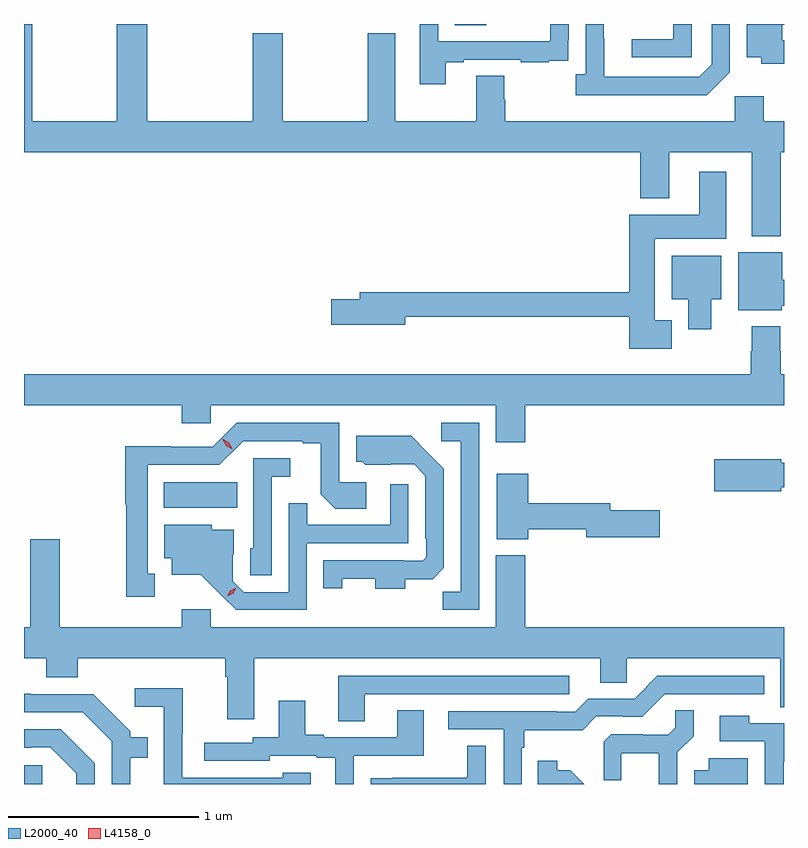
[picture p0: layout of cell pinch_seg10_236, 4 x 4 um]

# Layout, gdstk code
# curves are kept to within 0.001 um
import gdstk
lib = gdstk.Library(unit=1e-6, precision=1e-09)
def R(c, l, rs):  # rectangles x0, y0, x1, y1
    for r in rs: c.add(gdstk.rectangle(r[:2], r[2:], *l))
def P(c, l, *ps):  # polygons
    for p in ps: c.add(gdstk.Polygon(p, *l))
L2000_40 = (2000, 40)
L4158_0 = (4158, 0)

pinch_seg10_236 = lib.new_cell('pinch_seg10_236')
R(pinch_seg10_236, L2000_40, [(609.938,1299.655,610.033,1299.753), (610.673,1301.108,611.06,1301.242), (612.206,1303.648,612.37,1303.655)])
P(pinch_seg10_236, L2000_40, [(613.922,1302.98),(613.938,1302.98),(613.938,1303.144),(613.832,1303.144),(613.832,1303.276),(613.68,1303.276),(613.68,1303.144),(612.47,1303.144),(612.47,1303.257),(612.465,1303.257),(612.465,1303.382),(612.317,1303.382),(612.317,1303.144),(611.893,1303.144),(611.893,1303.606),(611.746,1303.606),(611.746,1303.144),(611.301,1303.144),(611.301,1303.606),(611.141,1303.606),(611.141,1303.144),(610.586,1303.144),(610.586,1303.655),(610.426,1303.655),(610.426,1303.144),(609.981,1303.144),(609.981,1303.655),(609.938,1303.655),(609.938,1302.98),(613.181,1302.98),(613.181,1302.737),(613.333,1302.737),(613.333,1302.98),(613.769,1302.98),(613.769,1302.539),(613.922,1302.539)],
  [(613.653,1303.401),(613.653,1303.655),(613.557,1303.655),(613.557,1303.443),(613.491,1303.377),(612.991,1303.377),(612.99,1303.655),(612.894,1303.655),(612.894,1303.39),(612.843,1303.39),(612.843,1303.28),(613.532,1303.28)],
  [(612.157,1303.455),(612.253,1303.455),(612.253,1303.467),(612.553,1303.467),(612.553,1303.455),(612.701,1303.455),(612.701,1303.461),(612.803,1303.461),(612.803,1303.57),(612.804,1303.57),(612.804,1303.655),(612.708,1303.655),(612.708,1303.563),(612.117,1303.563),(612.117,1303.655),(612.021,1303.655),(612.021,1303.338),(612.157,1303.338)],
  [(613.452,1303.655),(613.356,1303.655),(613.356,1303.575),(613.137,1303.575),(613.137,1303.479),(613.452,1303.479)],
  [(613.938,1303.57),(613.93,1303.57),(613.93,1303.651),(613.938,1303.651),(613.938,1303.655),(613.742,1303.655),(613.742,1303.481),(613.818,1303.481),(613.818,1303.446),(613.938,1303.446)],
  [(613.348,1302.097),(613.258,1302.097),(613.258,1302.524),(613.633,1302.524),(613.633,1302.877),(613.493,1302.877),(613.493,1302.652),(613.124,1302.652),(613.124,1302.242),(611.705,1302.242),(611.705,1302.206),(611.556,1302.206),(611.556,1302.071),(611.944,1302.071),(611.944,1302.114),(613.124,1302.114),(613.124,1301.945),(613.348,1301.945)],
  [(613.926,1302.173),(613.938,1302.173),(613.938,1302.308),(613.93,1302.308),(613.93,1302.454),(613.697,1302.454),(613.697,1302.149),(613.926,1302.149)],
  [(613.555,1302.206),(613.609,1302.206),(613.609,1302.436),(613.346,1302.436),(613.346,1302.206),(613.433,1302.206),(613.433,1302.048),(613.555,1302.048)],
  [(613.917,1301.933),(613.917,1302.064),(613.769,1302.064),(613.769,1301.933),(613.762,1301.933),(613.762,1301.812),(609.938,1301.812),(609.938,1301.648),(610.769,1301.648),(610.769,1301.555),(610.92,1301.555),(610.92,1301.648),(612.422,1301.648),(612.422,1301.454),(612.575,1301.454),(612.575,1301.648),(613.938,1301.648),(613.938,1301.812),(613.922,1301.812),(613.922,1301.933)],
  [(612.333,1301.556),(612.135,1301.556),(612.135,1301.46),(612.237,1301.46),(612.237,1300.667),(612.142,1300.667),(612.142,1300.572),(612.333,1300.572)],
  [(610.627,1300.761),(610.588,1300.761),(610.588,1301.334),(610.965,1301.334),(611.091,1301.46),(611.405,1301.46),(611.405,1301.448),(611.499,1301.448),(611.499,1301.18),(611.575,1301.104),(611.74,1301.104),(611.74,1301.244),(611.598,1301.244),(611.598,1301.556),(611.058,1301.556),(610.932,1301.43),(610.71,1301.43),(610.71,1301.432),(610.47,1301.432),(610.47,1301.127),(610.477,1301.127),(610.477,1300.641),(610.627,1300.641)],
  [(611.944,1300.733),(612.088,1300.733),(612.147,1300.792),(612.147,1301.314),(611.975,1301.488),(611.687,1301.488),(611.687,1301.352),(611.718,1301.352),(611.734,1301.336),(611.991,1301.337),(612.051,1301.277),(612.051,1300.948),(612.054,1300.948),(612.054,1300.848),(612.036,1300.83),(611.936,1300.83),(611.936,1300.833),(611.512,1300.833),(611.512,1300.686),(611.613,1300.686),(611.613,1300.735),(611.786,1300.735),(611.786,1300.682),(611.944,1300.682)],
  [(611.241,1301.273),(611.338,1301.273),(611.338,1301.37),(611.145,1301.37),(611.145,1300.896),(611.13,1300.896),(611.13,1300.753),(611.241,1300.753)],
  [(613.924,1301.218),(613.938,1301.218),(613.938,1301.347),(613.924,1301.347),(613.924,1301.365),(613.572,1301.365),(613.572,1301.195),(613.924,1301.195)],
  [(612.592,1300.996),(612.896,1300.996),(612.896,1300.954),(613.285,1300.954),(613.285,1301.096),(613.024,1301.096),(613.024,1301.132),(612.592,1301.132),(612.592,1301.287),(612.425,1301.287),(612.425,1300.943),(612.592,1300.943)],
  [(611.427,1300.923),(611.961,1300.923),(611.961,1301.233),(611.865,1301.233),(611.865,1301.019),(611.429,1301.019),(611.429,1301.132),(611.331,1301.132),(611.331,1300.665),(611.094,1300.665),(611.037,1300.722),(611.037,1300.864),(611.041,1300.864),(611.041,1300.993),(610.926,1300.993),(610.926,1301.02),(610.676,1301.02),(610.676,1300.844),(610.715,1300.844),(610.715,1300.757),(610.867,1300.757),(611.054,1300.572),(611.427,1300.572)],
  [(611.149,1300.316),(612.971,1300.316),(612.971,1300.189),(613.11,1300.189),(613.11,1300.316),(613.919,1300.316),(613.919,1300.06),(613.938,1300.06),(613.938,1300.48),(612.575,1300.48),(612.575,1300.858),(612.422,1300.858),(612.422,1300.48),(610.92,1300.48),(610.92,1300.576),(610.769,1300.576),(610.769,1300.48),(610.125,1300.48),(610.125,1300.942),(609.97,1300.942),(609.97,1300.48),(609.938,1300.48),(609.938,1300.316),(610.055,1300.316),(610.055,1300.217),(610.22,1300.217),(610.22,1300.316),(610.997,1300.316),(610.997,1300.22),(611.009,1300.22),(611.009,1299.996),(611.149,1299.996)],
  [(611.731,1300.128),(612.808,1300.128),(612.808,1300.224),(611.591,1300.224),(611.591,1299.985),(611.731,1299.985)],
  [(612.558,1299.845),(612.571,1299.845),(612.571,1299.938),(612.878,1299.938),(612.951,1300.011),(613.09,1300.011),(613.09,1300.008),(613.191,1300.008),(613.311,1300.128),(613.834,1300.128),(613.834,1300.224),(613.272,1300.224),(613.152,1300.104),(612.909,1300.104),(612.84,1300.035),(612.74,1300.035),(612.74,1300.038),(612.171,1300.038),(612.171,1299.942),(612.462,1299.942),(612.462,1299.655),(612.558,1299.655)],
  [(611.446,1299.715),(611.301,1299.715),(611.301,1299.687),(610.77,1299.687),(610.77,1299.92),(610.773,1299.92),(610.773,1300.159),(610.521,1300.159),(610.521,1300.061),(610.674,1300.061),(610.674,1299.655),(611.446,1299.655)],
  [(610.498,1299.792),(610.589,1299.792),(610.589,1299.901),(610.497,1299.901),(610.497,1299.933),(610.302,1300.128),(609.971,1300.128),(609.971,1300.13),(609.938,1300.13),(609.938,1300.032),(610.248,1300.032),(610.401,1299.879),(610.401,1299.655),(610.498,1299.655)],
  [(611.673,1299.804),(612.043,1299.804),(612.043,1300.043),(611.903,1300.043),(611.903,1299.9),(611.515,1299.9),(611.515,1299.913),(611.419,1299.913),(611.419,1300.093),(611.279,1300.093),(611.279,1299.9),(611.142,1299.9),(611.142,1299.873),(610.887,1299.873),(610.887,1299.777),(611.232,1299.777),(611.232,1299.804),(611.48,1299.804),(611.48,1299.792),(611.576,1299.792),(611.576,1299.655),(611.673,1299.655)],
  [(613.377,1299.821),(613.463,1299.907),(613.463,1300.043),(613.365,1300.043),(613.365,1299.952),(613.328,1299.915),(613.194,1299.915),(613.194,1299.918),(613.029,1299.918),(612.988,1299.877),(612.988,1299.675),(613.082,1299.675),(613.082,1299.818),(613.28,1299.818),(613.28,1299.655),(613.377,1299.655)],
  [(613.937,1299.772),(613.938,1299.772),(613.938,1299.975),(613.755,1299.975),(613.755,1300.015),(613.599,1300.015),(613.599,1299.879),(613.836,1299.879),(613.836,1299.655),(613.937,1299.655)],
  [(610.311,1299.763),(610.132,1299.942),(609.938,1299.942),(609.938,1299.846),(609.977,1299.846),(609.977,1299.849),(610.077,1299.849),(610.214,1299.712),(610.214,1299.655),(610.311,1299.655)],
  [(612.369,1299.857),(612.271,1299.857),(612.271,1299.687),(611.875,1299.687),(611.875,1299.686),(611.763,1299.686),(611.763,1299.655),(612.369,1299.655)],
  [(613.747,1299.79),(613.541,1299.79),(613.541,1299.727),(613.466,1299.727),(613.466,1299.655),(613.747,1299.655)],
  [(612.814,1299.728),(612.744,1299.728),(612.744,1299.778),(612.643,1299.778),(612.643,1299.655),(612.887,1299.655)])
P(pinch_seg10_236, L4158_0, [(611.007,1300.643),(611.007,1300.643),(611.024,1300.673),(611.054,1300.688),(611.054,1300.688),(611.054,1300.688),(611.038,1300.658),(611.007,1300.643)],
  [(611.035,1301.418),(611.003,1301.436),(610.985,1301.468),(610.985,1301.469),(610.986,1301.469),(611.017,1301.45),(611.035,1301.418),(611.035,1301.418)])

lib.write_gds('pinch_seg10_236.gds')
